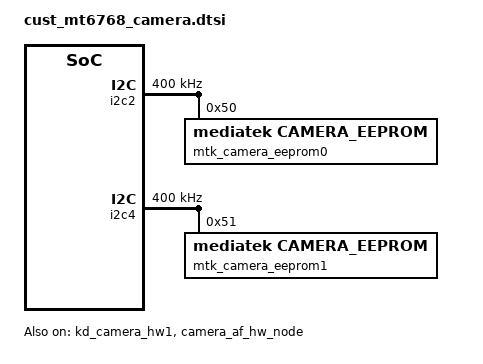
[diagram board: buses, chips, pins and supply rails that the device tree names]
// SPDX-License-Identifier: (GPL-2.0 OR MIT)
/*
 * Copyright (c) 2019 MediaTek Inc.
 */
/* CAMERA GPIO standardization */
&pio {
	camera0_mclk_2mA: camera0_mclk_2mA@gpio99 {
		pins_cmd_dat {
			pinmux = <PINMUX_GPIO99__FUNC_CMMCLK0>;
			drive-strength = <MTK_DRIVE_2mA>;
		};
	};
	camera0_mclk_4mA: camera0_mclk_4mA@gpio99 {
		pins_cmd_dat {
			pinmux = <PINMUX_GPIO99__FUNC_CMMCLK0>;
			drive-strength = <MTK_DRIVE_4mA>;
		};
	};
	camera0_mclk_6mA: camera0_mclk_6mA@gpio99 {
		pins_cmd_dat {
			pinmux = <PINMUX_GPIO99__FUNC_CMMCLK0>;
			drive-strength = <MTK_DRIVE_6mA>;
		};
	};
	camera0_mclk_8mA: camera0_mclk_8mA@gpio99 {
		pins_cmd_dat {
			pinmux = <PINMUX_GPIO99__FUNC_CMMCLK0>;
			drive-strength = <7>;
		};
	};
	camera0_mclk_off: camera0_mclk_gpio_mode@gpio99 {
		pins_cmd_dat {
			pinmux = <PINMUX_GPIO99__FUNC_GPIO99>;
			drive-strength = <MTK_DRIVE_4mA>;
		};
	};

	camera1_mclk_2mA: camera1_mclk_2mA@gpio100 {
		pins_cmd_dat {
			pinmux = <PINMUX_GPIO100__FUNC_CMMCLK1>;
			drive-strength = <MTK_DRIVE_2mA>;
		};
	};
	camera1_mclk_4mA: camera1_mclk_4mA@gpio100 {
		pins_cmd_dat {
			pinmux = <PINMUX_GPIO100__FUNC_CMMCLK1>;
			drive-strength = <MTK_DRIVE_4mA>;
		};
	};
	camera1_mclk_6mA: camera1_mclk_6mA@gpio100 {
		pins_cmd_dat {
			pinmux = <PINMUX_GPIO100__FUNC_CMMCLK1>;
			drive-strength = <MTK_DRIVE_6mA>;
		};
	};
	camera1_mclk_8mA: camera1_mclk_8mA@gpio100 {
		pins_cmd_dat {
			pinmux = <PINMUX_GPIO100__FUNC_CMMCLK1>;
			drive-strength = <7>;
		};
	};
	camera1_mclk_off: camera1_mclk_gpio_mode@gpio100 {
		pins_cmd_dat {
			pinmux = <PINMUX_GPIO100__FUNC_GPIO100>;
			drive-strength = <MTK_DRIVE_4mA>;
		};
	};

	camera2_mclk_2mA: camera2_mclk_2mA@gpio108 {
		pins_cmd_dat {
			pinmux = <PINMUX_GPIO108__FUNC_CMMCLK2>;
			drive-strength = <MTK_DRIVE_2mA>;
		};
	};
	camera2_mclk_4mA: camera2_mclk_4mA@gpio108 {
		pins_cmd_dat {
			pinmux = <PINMUX_GPIO108__FUNC_CMMCLK2>;
			drive-strength = <MTK_DRIVE_4mA>;
		};
	};
	camera2_mclk_6mA: camera2_mclk_6mA@gpio108 {
		pins_cmd_dat {
			pinmux = <PINMUX_GPIO108__FUNC_CMMCLK2>;
			drive-strength = <MTK_DRIVE_6mA>;
		};
	};
	camera2_mclk_8mA: camera2_mclk_8mA@gpio108 {
		pins_cmd_dat {
			pinmux = <PINMUX_GPIO108__FUNC_CMMCLK2>;
			drive-strength = <7>;
		};
	};
	camera2_mclk_off: camera2_mclk_gpio_mode@gpio108 {
		pins_cmd_dat {
			pinmux = <PINMUX_GPIO108__FUNC_GPIO108>;
			drive-strength = <MTK_DRIVE_4mA>;
		};
	};
	camera0_rst_low: camera0_rst_output_low@gpio101 {
		pins_cmd_dat {
			pinmux = <PINMUX_GPIO101__FUNC_GPIO101>;
			output-low;
		};
	};
	camera0_rst_high: camera0_rst_output_high@gpio101 {
		pins_cmd_dat {
			pinmux = <PINMUX_GPIO101__FUNC_GPIO101>;
			output-high;
		};
	};
	camera1_rst_low: camera1_rst_output_low@gpio109 {
		pins_cmd_dat {
			pinmux = <PINMUX_GPIO109__FUNC_GPIO109>;
			output-low;
		};
	};
	camera1_rst_high: camera1_rst_output_high@gpio109 {
		pins_cmd_dat {
			pinmux = <PINMUX_GPIO109__FUNC_GPIO109>;
			output-high;
		};
	};
	camera2_rst_low: camera2_rst_output_low@gpio102 {
		pins_cmd_dat {
			pinmux = <PINMUX_GPIO102__FUNC_GPIO102>;
			output-low;
		};
	};
	camera2_rst_high: camera2_rst_output_high@gpio102 {
		pins_cmd_dat {
			pinmux = <PINMUX_GPIO102__FUNC_GPIO102>;
			output-high;
		};
	};
	camera1_vcamd_off: camera1_vcamd_output_low@gpio178 {
		pins_cmd_dat {
			pinmux = <PINMUX_GPIO178__FUNC_GPIO178>;
			output-low;
		};
	};
	camera1_vcamd_on: camera1_vcamd_output_high@gpio178 {
		pins_cmd_dat {
			pinmux = <PINMUX_GPIO178__FUNC_GPIO178>;
			output-high;
		};
	};
	camera2_vcamd_off: camera2_vcamd_output_low@gpio178 {
		pins_cmd_dat {
			pinmux = <PINMUX_GPIO178__FUNC_GPIO178>;
			output-low;
		};
	};
	camera2_vcamd_on: camera2_vcamd_output_high@gpio178 {
		pins_cmd_dat {
			pinmux = <PINMUX_GPIO178__FUNC_GPIO178>;
			output-high;
		};
	};
	camera_pins_default: camdefault {
	};

};

&kd_camera_hw1 {
	pinctrl-names = "default",
			"cam0_rst0", "cam0_rst1",
			"cam1_rst0", "cam1_rst1",
			"cam2_rst0", "cam2_rst1",
			"cam1_vcamd_on",
			"cam1_vcamd_off",
			"cam2_vcamd_on",
			"cam2_vcamd_off",
			"cam0_mclk_off",
			"cam0_mclk_2mA", "cam0_mclk_4mA",
			"cam0_mclk_6mA", "cam0_mclk_8mA",
			"cam1_mclk_off",
			"cam1_mclk_2mA", "cam1_mclk_4mA",
			"cam1_mclk_6mA", "cam1_mclk_8mA",
			"cam2_mclk_off",
			"cam2_mclk_2mA", "cam2_mclk_4mA",
			"cam2_mclk_6mA", "cam2_mclk_8mA";

	pinctrl-0 = <&camera_pins_default>;
	pinctrl-1 = <&camera0_rst_low>;
	pinctrl-2 = <&camera0_rst_high>;
	pinctrl-3 = <&camera1_rst_low>;
	pinctrl-4 = <&camera1_rst_high>;
	pinctrl-5 = <&camera2_rst_low>;
	pinctrl-6 = <&camera2_rst_high>;
	pinctrl-7 = <&camera1_vcamd_on>;
	pinctrl-8 = <&camera1_vcamd_off>;
	pinctrl-9 = <&camera2_vcamd_on>;
	pinctrl-10 = <&camera2_vcamd_off>;
	pinctrl-11 = <&camera0_mclk_off>;
	pinctrl-12 = <&camera0_mclk_2mA>;
	pinctrl-13 = <&camera0_mclk_4mA>;
	pinctrl-14 = <&camera0_mclk_6mA>;
	pinctrl-15 = <&camera0_mclk_8mA>;
	pinctrl-16 = <&camera1_mclk_off>;
	pinctrl-17 = <&camera1_mclk_2mA>;
	pinctrl-18 = <&camera1_mclk_4mA>;
	pinctrl-19 = <&camera1_mclk_6mA>;
	pinctrl-20 = <&camera1_mclk_8mA>;
	pinctrl-21 = <&camera2_mclk_off>;
	pinctrl-22 = <&camera2_mclk_2mA>;
	pinctrl-23 = <&camera2_mclk_4mA>;
	pinctrl-24 = <&camera2_mclk_6mA>;
	pinctrl-25 = <&camera2_mclk_8mA>;
	cam0_vcama-supply = <&mt_pmic_vcama1_ldo_reg>;
	cam0_vcamd-supply = <&mt_pmic_vcamd_ldo_reg>;
	cam1_vcama-supply = <&mt_pmic_vcama2_ldo_reg>;
	cam2_vcama-supply = <&mt_pmic_vcama2_ldo_reg>;
	cam0_vcamio-supply = <&mt_pmic_vcamio_ldo_reg>;
	cam1_vcamio-supply = <&mt_pmic_vcamio_ldo_reg>;
	cam2_vcamio-supply = <&mt_pmic_vcamio_ldo_reg>;
	status = "okay";
    pmic = <&main_pmic>;

    cam0_enable_sensor = "s5kjnssq_mipi_raw";
    cam1_enable_sensor = "sc820cs_mipi_raw gc08a8_mipi_raw gc08a8spy_mipi_raw ov08d10_mipi_raw";
    cam2_enable_sensor = "sc520cs_mipi_raw gc05a2_mipi_raw";
};
/* CAMERA GPIO end */

/* CAMERA EEPROM */
&i2c2 {
	status = "okay";
	clock-frequency = <400000>;
	#address-cells = <1>;
	#size-cells = <0>;
	mtk_camera_eeprom0:camera_eeprom0@50 {
		compatible = "mediatek,camera_eeprom";
		reg = <0x50>;
		status = "okay";
	};
};

&i2c4 {
	status = "okay";
	clock-frequency = <400000>;
	#address-cells = <1>;
	#size-cells = <0>;

	mtk_camera_eeprom1:camera-eeprom1@51 {
		compatible = "mediatek,camera_eeprom";
		reg = <0x51>;
		status = "okay";
	};
};
/* CAMERA EEPROM END */

/* CAMERA AF */
&camera_af_hw_node {
	camaf_m1_pmic-supply = <&mt_pmic_vldo28_ldo_reg>;
	status = "okay";
};
/* CAMERA AF end */
